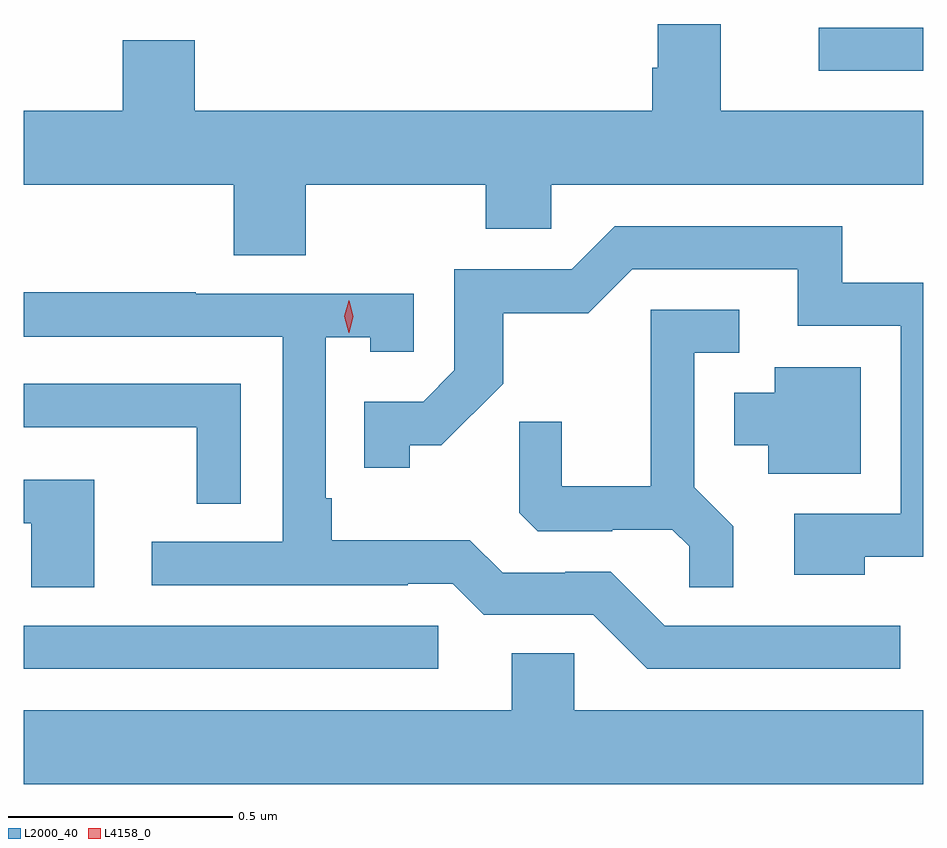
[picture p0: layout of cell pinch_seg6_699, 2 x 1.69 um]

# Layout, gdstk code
import gdstk
lib = gdstk.Library(unit=1e-6, precision=1e-09)
def R(c, l, rs):  # rectangles x0, y0, x1, y1
    for r in rs: c.add(gdstk.rectangle(r[:2], r[2:], *l))
def P(c, l, *ps):  # polygons
    for p in ps: c.add(gdstk.Polygon(p, *l))
L2000_40 = (2000, 40)
L4158_0 = (4158, 0)

pinch_seg6_699 = lib.new_cell('pinch_seg6_699')
R(pinch_seg6_699, L2000_40, [(490.674,930.276,491.596,930.372), (492.441,931.605,492.674,931.701)])
P(pinch_seg6_699, L2000_40, [(491.301,931.352),(491.701,931.352),(491.701,931.254),(491.847,931.254),(491.847,931.352),(492.674,931.352),(492.674,931.516),(492.223,931.516),(492.223,931.709),(492.083,931.709),(492.083,931.612),(492.071,931.612),(492.071,931.516),(491.054,931.516),(491.054,931.673),(490.894,931.673),(490.894,931.516),(490.674,931.516),(490.674,931.352),(491.141,931.352),(491.141,931.195),(491.301,931.195)],
  [(492.543,930.525),(492.674,930.525),(492.674,931.134),(492.494,931.134),(492.494,931.26),(491.988,931.26),(491.892,931.164),(491.631,931.164),(491.631,930.939),(491.562,930.87),(491.431,930.87),(491.431,930.723),(491.532,930.723),(491.532,930.773),(491.602,930.773),(491.74,930.91),(491.74,931.066),(491.929,931.066),(492.027,931.164),(492.395,931.164),(492.395,931.038),(492.624,931.038),(492.624,930.621),(492.387,930.621),(492.387,930.485),(492.543,930.485)],
  [(492.622,930.372),(492.099,930.372),(491.979,930.492),(491.878,930.492),(491.878,930.489),(491.739,930.489),(491.666,930.562),(491.359,930.562),(491.359,930.655),(491.346,930.655),(491.346,931.013),(491.445,931.013),(491.445,930.981),(491.541,930.981),(491.541,931.11),(491.057,931.11),(491.057,931.113),(490.674,931.113),(490.674,931.014),(491.25,931.014),(491.25,930.558),(490.959,930.558),(490.959,930.462),(491.528,930.462),(491.528,930.465),(491.628,930.465),(491.697,930.396),(491.94,930.396),(492.06,930.276),(492.622,930.276)],
  [(492.251,930.593),(492.165,930.679),(492.165,930.978),(492.265,930.978),(492.265,931.074),(492.068,931.074),(492.068,930.682),(491.87,930.682),(491.87,930.825),(491.776,930.825),(491.776,930.623),(491.817,930.582),(491.982,930.582),(491.982,930.585),(492.116,930.585),(492.153,930.548),(492.153,930.457),(492.251,930.457)],
  [(492.535,930.946),(492.344,930.946),(492.344,930.889),(492.254,930.889),(492.254,930.773),(492.329,930.773),(492.329,930.71),(492.535,930.71)],
  [(491.157,930.909),(490.674,930.909),(490.674,930.813),(491.059,930.813),(491.059,930.643),(491.157,930.643)],
  [(490.831,930.696),(490.674,930.696),(490.674,930.6),(490.691,930.6),(490.691,930.457),(490.831,930.457)],
  [(492.674,930.184),(491.898,930.184),(491.898,930.311),(491.759,930.311),(491.759,930.184),(490.674,930.184),(490.674,930.02),(492.674,930.02)])
P(pinch_seg6_699, L4158_0, [(491.397,931.023),(491.397,931.023),(491.387,931.059),(491.397,931.094),(491.397,931.095),(491.398,931.094),(491.407,931.059),(491.398,931.023)])

lib.write_gds('pinch_seg6_699.gds')
